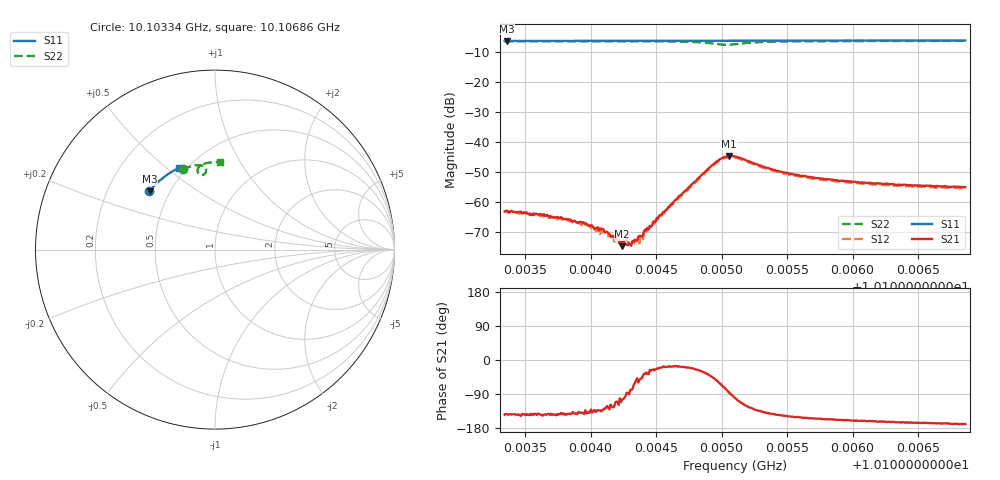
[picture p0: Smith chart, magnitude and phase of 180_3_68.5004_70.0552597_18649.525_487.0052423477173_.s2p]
#  HZ  S  RI  R  50.00
! Rohde & Schwarz Vector Network Analyzer
! Rohde-Schwarz,ZNB20-2Port,1311601062101988,3.16
! Created: UTC 3/20/2024, 5:11:49 PM
! freq[Hz]  re:S11  im:S11  re:S21  im:S21  re:S12  im:S12  re:S22  im:S22
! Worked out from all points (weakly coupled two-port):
!   401 points, 10.10334 GHz to 10.10686 GHz, reference 50 ohm
!   highest |S21| = -44.70 dB at 10.10506 GHz (marker M1); lowest = -74.9 dB at 10.10424 GHz (marker M2)
!   lowest |S11| = -6.2 dB at 10.10336 GHz (marker M3), VSWR 2.91, Z = 19.3 + j16.6 ohm
!   |S11| at or under -10 dB: nowhere
!   |S22| runs from -7.5 to -6.2 dB; largest |S21 - S12| = 0.00061
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1.0103344e10  -0.3653 0.3251  -0.000561 -0.0004  -0.000515 -0.000438  -0.1794 0.4466
1.0103362e10  -0.3645 0.3258  -0.000572 -0.000429  -0.000521 -0.000422  -0.1783 0.447
1.0103625e10  -0.3542 0.3382  -0.000488 -0.000355  -0.000448 -0.000365  -0.1617 0.4539
1.0103933e10  -0.3415 0.3522  -0.000345 -0.000297  -0.000292 -0.000286  -0.1415 0.4612
1.0104091e10  -0.3348 0.3591  -0.000238 -0.000262  -0.00016 -0.000263  -0.1304 0.4646
1.0104162e10  -0.3319 0.3623  -0.000143 -0.000225  -0.000104 -0.000231  -0.1253 0.4659
1.0104197e10  -0.3305 0.3637  -8.81e-05 -0.000244  -6.77e-05 -0.000236  -0.1228 0.4665
1.0104223e10  -0.3293 0.3649  -3.76e-05 -0.000192  -5.4e-05 -0.000191  -0.1208 0.467
1.0104241e10  -0.3286 0.3654  -4.51e-05 -0.000175  -1.83e-05 -0.000215  -0.1194 0.4673
1.0104294e10  -0.3261 0.3677  -2.66e-06 -0.000204  4.64e-05 -0.000194  -0.1153 0.4683
1.0104311e10  -0.3255 0.3684  3.75e-05 -0.00018  7.56e-05 -0.000184  -0.114 0.4685
1.0104355e10  -0.3236 0.3703  0.000149 -0.000166  0.000137 -0.000173  -0.1105 0.4693
1.010439e10  -0.3219 0.3719  0.000173 -0.000197  0.000213 -0.000156  -0.1075 0.4697
1.0104522e10  -0.3159 0.3772  0.00054 -0.000204  0.000521 -0.000136  -0.0957 0.471
1.0104927e10  -0.2974 0.3931  0.00289 -0.00284  0.00302 -0.00246  -0.0495 0.4422
1.0104997e10  -0.294 0.3958  0.00222 -0.00477  0.00257 -0.00436  -0.0564 0.4225
1.0105058e10  -0.2913 0.3979  0.00035 -0.00581  0.000885 -0.00552  -0.0757 0.4157
1.0105102e10  -0.2893 0.3996  -0.00102 -0.00559  -0.000482 -0.00545  -0.0887 0.4212
1.0105436e10  -0.2734 0.412  -0.00267 -0.00185  -0.00239 -0.002  -0.0781 0.4704
1.0105691e10  -0.2607 0.4209  -0.0023 -0.00113  -0.00211 -0.00125  -0.0561 0.4796
1.010628e10  -0.2305 0.4397  -0.00188 -0.000567  -0.00173 -0.000695  -0.0132 0.487
1.0106861e10  -0.1994 0.4562  -0.00172 -0.000337  -0.00163 -0.000481  0.0261 0.4886
